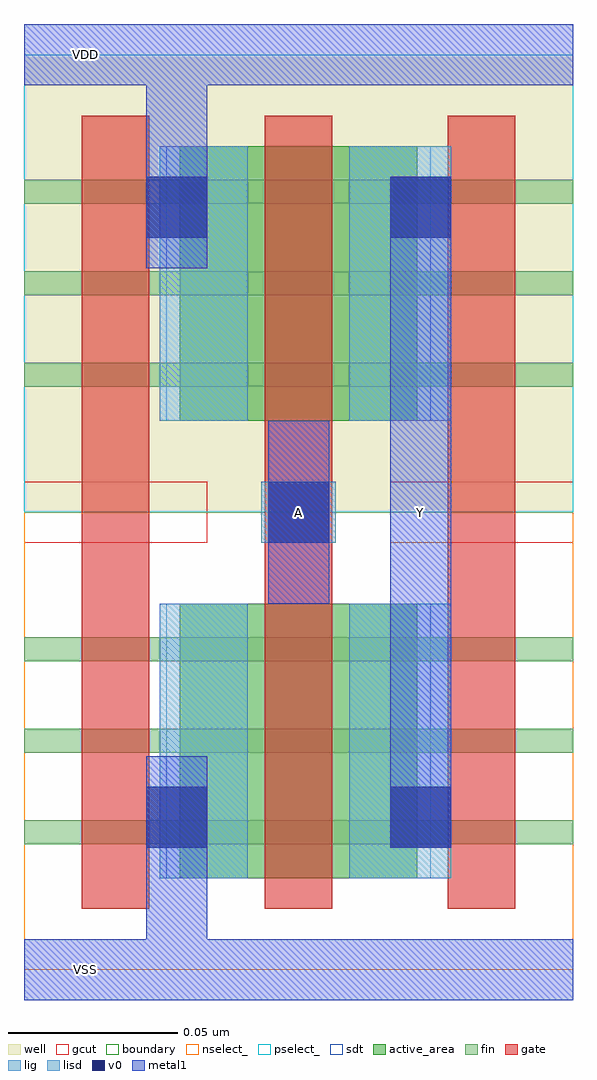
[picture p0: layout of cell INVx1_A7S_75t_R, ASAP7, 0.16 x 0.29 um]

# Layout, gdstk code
import gdstk
lib = gdstk.Library(unit=1e-6, precision=2.5e-10)
def R(c, l, rs):  # rectangles x0, y0, x1, y1
    for r in rs: c.add(gdstk.rectangle(r[:2], r[2:], *l))
def A(c, l, x, y, w, h, nx, ny, dx, dy):  # array of equal rectangles
    R(c, l, [(x+i*dx, y+j*dy, x+i*dx+w, y+j*dy+h) for i in range(nx) for j in range(ny)])
well = (1, 0)
fin = (2, 0)
gate = (7, 0)
gcut = (10, 0)
active_area = (11, 0)
nselect_ = (12, 0)
pselect_ = (13, 0)
lig = (16, 0)
lisd = (17, 0)
v0 = (18, 0)
metal1 = (19, 0)
sdt = (88, 0)
boundary = (100, 0)

invx1_a7s_75t_r = lib.new_cell('INVx1_A7S_75t_R')
R(invx1_a7s_75t_r, well, [(0,0.135,0.162,0.27)])
A(invx1_a7s_75t_r, fin, 0, 0.037, 0.162, 0.007, 1, 3, 0, 0.027)
A(invx1_a7s_75t_r, fin, 0, 0.172, 0.162, 0.007, 1, 3, 0, 0.027)
A(invx1_a7s_75t_r, gate, 0.017, 0.018, 0.02, 0.234, 3, 1, 0.054, 0)
R(invx1_a7s_75t_r, gcut, [(0,0.126,0.054,0.144), (0.108,0.126,0.162,0.144)])
R(invx1_a7s_75t_r, active_area, [(0.046,0.027,0.116,0.108), (0.046,0.162,0.116,0.243)])
R(invx1_a7s_75t_r, nselect_, [(0,0,0.162,0.135)])
R(invx1_a7s_75t_r, pselect_, [(0,0.135,0.162,0.27)])
R(invx1_a7s_75t_r, lig, [(0.07,0.126,0.092,0.144)])
R(invx1_a7s_75t_r, lisd, [(0.04,0.027,0.066,0.108), (0.096,0.027,0.126,0.108), (0.04,0.162,0.066,0.243), (0.096,0.162,0.126,0.243)])
R(invx1_a7s_75t_r, v0, [(0.036,0.036,0.054,0.054), (0.108,0.036,0.126,0.054), (0.072,0.126,0.09,0.144), (0.036,0.216,0.054,0.234), (0.108,0.216,0.126,0.234)])
R(invx1_a7s_75t_r, metal1, [(0,-0.009,0.162,0.009), (0.036,0.009,0.054,0.063), (0.108,0.036,0.126,0.234), (0.072,0.108,0.09,0.162), (0.036,0.207,0.054,0.261), (0,0.261,0.162,0.279)])
R(invx1_a7s_75t_r, sdt, [(0.042,0.027,0.066,0.108), (0.096,0.027,0.12,0.108), (0.042,0.162,0.066,0.243), (0.096,0.162,0.12,0.243)])
R(invx1_a7s_75t_r, boundary, [(0,0,0.162,0.27)])
invx1_a7s_75t_r.add(gdstk.Label('VSS', (0.018,0), layer=19, texttype=251))
invx1_a7s_75t_r.add(gdstk.Label('VDD', (0.018,0.27), layer=19, texttype=251))
invx1_a7s_75t_r.add(gdstk.Label('A', (0.081,0.135), layer=19, texttype=251))
invx1_a7s_75t_r.add(gdstk.Label('Y', (0.117,0.135), layer=19, texttype=251))

lib.write_gds('INVx1_A7S_75t_R.gds')
